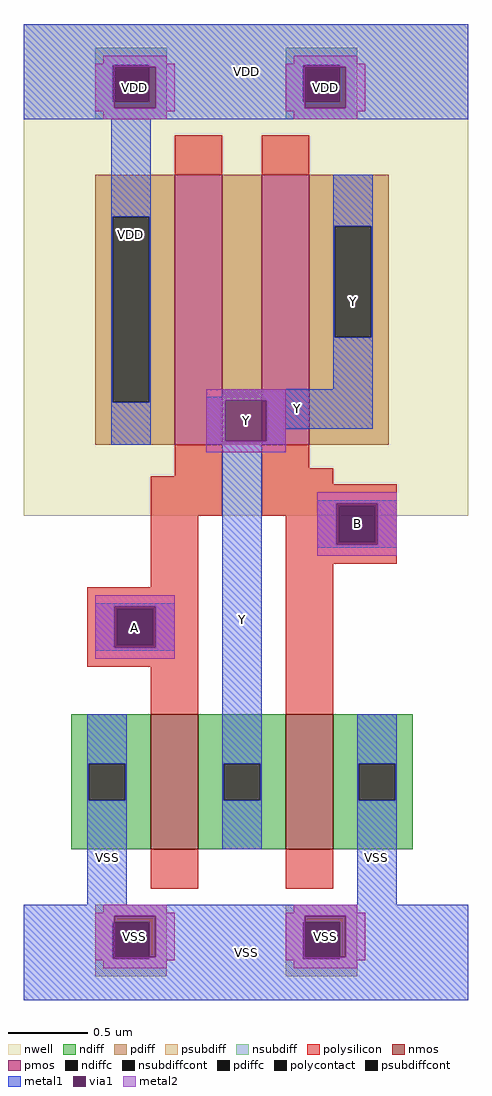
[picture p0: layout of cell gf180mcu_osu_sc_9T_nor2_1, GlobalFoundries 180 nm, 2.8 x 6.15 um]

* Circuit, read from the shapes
.subckt gf180mcu_osu_sc_9T_nor2_1 A Y B VDD VSS
XM1 Y A VSS VSS nfet_03v3 w=0.85u l=0.3u
XM2 VSS B Y VSS nfet_03v3 w=0.85u l=0.3u
XM3 n1 A VDD VDD pfet_03v3 w=1.7u l=0.3u
XM4 Y B n1 VDD pfet_03v3 w=1.7u l=0.3u
.ends

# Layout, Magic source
magic
tech gf180mcuB
magscale 1 10
<< nwell >>
rect 0 610 560 1230
<< nmos >>
rect 160 190 220 360
rect 330 190 390 360
<< pmos >>
rect 190 700 250 1040
rect 300 700 360 1040
<< ndiff >>
rect 60 298 160 360
rect 60 252 82 298
rect 128 252 160 298
rect 60 190 160 252
rect 220 298 330 360
rect 220 252 252 298
rect 298 252 330 298
rect 220 190 330 252
rect 390 298 490 360
rect 390 252 422 298
rect 468 252 490 298
rect 390 190 490 252
<< pdiff >>
rect 90 987 190 1040
rect 90 753 112 987
rect 158 753 190 987
rect 90 700 190 753
rect 250 700 300 1040
rect 360 975 460 1040
rect 360 835 392 975
rect 438 835 460 975
rect 360 700 460 835
<< ndiffc >>
rect 82 252 128 298
rect 252 252 298 298
rect 422 252 468 298
<< pdiffc >>
rect 112 753 158 987
rect 392 835 438 975
<< psubdiff >>
rect 90 98 180 120
rect 90 52 112 98
rect 158 52 180 98
rect 90 30 180 52
rect 330 98 420 120
rect 330 52 352 98
rect 398 52 420 98
rect 330 30 420 52
<< nsubdiff >>
rect 90 1178 180 1200
rect 90 1132 112 1178
rect 158 1132 180 1178
rect 90 1110 180 1132
rect 330 1178 420 1200
rect 330 1132 352 1178
rect 398 1132 420 1178
rect 330 1110 420 1132
<< psubdiffcont >>
rect 112 52 158 98
rect 352 52 398 98
<< nsubdiffcont >>
rect 112 1132 158 1178
rect 352 1132 398 1178
<< polysilicon >>
rect 190 1040 250 1090
rect 300 1040 360 1090
rect 190 660 250 700
rect 160 610 250 660
rect 300 670 360 700
rect 300 650 390 670
rect 300 623 470 650
rect 300 610 397 623
rect 160 520 220 610
rect 80 493 220 520
rect 80 447 117 493
rect 163 447 220 493
rect 80 420 220 447
rect 160 360 220 420
rect 330 577 397 610
rect 443 577 470 623
rect 330 550 470 577
rect 330 360 390 550
rect 160 140 220 190
rect 330 140 390 190
<< polycontact >>
rect 117 447 163 493
rect 397 577 443 623
<< metal1 >>
rect 0 1178 560 1230
rect 0 1132 112 1178
rect 158 1176 352 1178
rect 398 1176 560 1178
rect 166 1132 352 1176
rect 0 1124 114 1132
rect 166 1124 354 1132
rect 406 1124 560 1176
rect 0 1110 560 1124
rect 110 987 160 1110
rect 110 753 112 987
rect 158 753 160 987
rect 390 975 440 1040
rect 390 835 392 975
rect 438 835 440 975
rect 390 770 440 835
rect 250 760 440 770
rect 110 700 160 753
rect 230 756 440 760
rect 230 704 254 756
rect 306 720 440 756
rect 306 704 330 720
rect 230 700 330 704
rect 90 496 190 500
rect 90 444 114 496
rect 166 444 190 496
rect 90 440 190 444
rect 80 298 130 360
rect 80 252 82 298
rect 128 252 130 298
rect 80 120 130 252
rect 250 298 300 700
rect 370 626 470 630
rect 370 574 394 626
rect 446 574 470 626
rect 370 570 470 574
rect 250 252 252 298
rect 298 252 300 298
rect 250 190 300 252
rect 420 298 470 360
rect 420 252 422 298
rect 468 252 470 298
rect 420 120 470 252
rect 0 106 560 120
rect 0 98 114 106
rect 166 98 354 106
rect 0 52 112 98
rect 166 54 352 98
rect 406 54 560 106
rect 158 52 352 54
rect 398 52 560 54
rect 0 0 560 52
<< via1 >>
rect 114 1132 158 1176
rect 158 1132 166 1176
rect 354 1132 398 1176
rect 398 1132 406 1176
rect 114 1124 166 1132
rect 354 1124 406 1132
rect 254 704 306 756
rect 114 493 166 496
rect 114 447 117 493
rect 117 447 163 493
rect 163 447 166 493
rect 114 444 166 447
rect 394 623 446 626
rect 394 577 397 623
rect 397 577 443 623
rect 443 577 446 623
rect 394 574 446 577
rect 114 98 166 106
rect 354 98 406 106
rect 114 54 158 98
rect 158 54 166 98
rect 354 54 398 98
rect 398 54 406 98
<< metal2 >>
rect 100 1180 180 1190
rect 340 1180 420 1190
rect 90 1176 190 1180
rect 90 1124 114 1176
rect 166 1124 190 1176
rect 90 1120 190 1124
rect 330 1176 430 1180
rect 330 1124 354 1176
rect 406 1124 430 1176
rect 330 1120 430 1124
rect 100 1110 180 1120
rect 340 1110 420 1120
rect 230 756 330 770
rect 230 704 254 756
rect 306 704 330 756
rect 230 690 330 704
rect 370 626 470 640
rect 370 574 394 626
rect 446 574 470 626
rect 370 560 470 574
rect 90 496 190 510
rect 90 444 114 496
rect 166 444 190 496
rect 90 430 190 444
rect 100 110 180 120
rect 340 110 420 120
rect 90 106 190 110
rect 90 54 114 106
rect 166 54 190 106
rect 90 50 190 54
rect 330 106 430 110
rect 330 54 354 106
rect 406 54 430 106
rect 330 50 430 54
rect 100 40 180 50
rect 340 40 420 50
<< labels >>
rlabel metal2 s 100 1110 180 1190 4 VDD
port 8 nsew power bidirectional abutment
rlabel metal2 s 100 40 180 120 4 VSS
port 9 nsew ground bidirectional
rlabel metal2 s 90 430 190 510 4 A
port 1 nsew signal input
rlabel metal2 s 230 690 330 770 4 Y
port 2 nsew signal output
rlabel metal2 s 370 560 470 640 4 B
port 3 nsew signal input
rlabel metal1 s 90 440 190 500 1 A
port 1 nsew signal input
rlabel metal1 s 370 570 470 630 1 B
port 3 nsew signal input
rlabel metal2 s 90 1120 190 1180 1 VDD
port 8 nsew power bidirectional abutment
rlabel metal2 s 340 1110 420 1190 1 VDD
port 8 nsew power bidirectional abutment
rlabel metal2 s 330 1120 430 1180 1 VDD
port 8 nsew power bidirectional abutment
rlabel metal1 s 110 700 160 1230 1 VDD
port 8 nsew power bidirectional abutment
rlabel metal1 s 0 1110 560 1230 1 VDD
port 8 nsew power bidirectional abutment
rlabel metal2 s 90 50 190 110 1 VSS
port 9 nsew ground bidirectional
rlabel metal2 s 340 40 420 120 1 VSS
port 9 nsew ground bidirectional
rlabel metal2 s 330 50 430 110 1 VSS
port 9 nsew ground bidirectional
rlabel metal1 s 80 0 130 360 1 VSS
port 9 nsew ground bidirectional
rlabel metal1 s 420 0 470 360 1 VSS
port 9 nsew ground bidirectional
rlabel metal1 s 0 0 560 120 1 VSS
port 9 nsew ground bidirectional
rlabel metal1 s 250 190 300 770 1 Y
port 2 nsew signal output
rlabel metal1 s 230 700 330 760 1 Y
port 2 nsew signal output
rlabel metal1 s 250 720 440 770 1 Y
port 2 nsew signal output
rlabel metal1 s 390 720 440 1040 1 Y
port 2 nsew signal output
<< properties >>
string FIXED_BBOX 0 0 560 1230
string GDS_END 424932
string GDS_FILE $PDKPATH/libs.ref/gf180mcu_osu_sc_9T/gds/gf180mcu_osu_sc_9T.gds
string GDS_START 419806
string LEFclass CORE
string LEFsite GF018hv5v_mcu_sc7
string LEFsymmetry X Y
<< end >>
